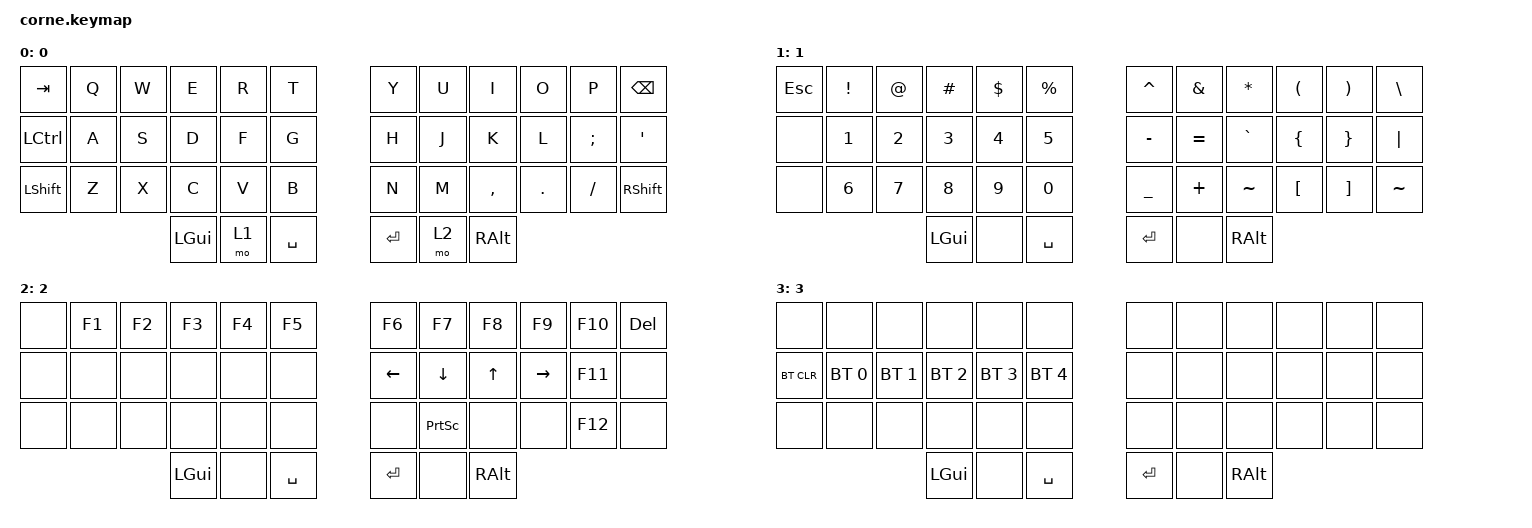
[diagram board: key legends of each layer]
/*
 * Copyright (c) 2020 The ZMK Contributors
 *
 * SPDX-License-Identifier: MIT
 */

#include <behaviors.dtsi>
#include <dt-bindings/zmk/bt.h>
#include <dt-bindings/zmk/keys.h>

/ {
    combos {
        compatible = "zmk,combos";

        caplock {
            bindings = <&kp CAPS>;
            key-positions = <38 39>;
        };

        control_layer {
            bindings = <&mo 3>;
            key-positions = <37 40>;
        };
    };

    keymap {
        compatible = "zmk,keymap";

        default {
            display-name = "0";

            // -----------------------------------------------------------------------------------------
            // |  TAB |  Q  |  W  |  E  |  R  |  T  |   |  Y  |  U   |  I  |  O  |  P  | BSPC |
            // | CTRL |  A  |  S  |  D  |  F  |  G  |   |  H  |  J   |  K  |  L  |  ;  |  '   |
            // | SHFT |  Z  |  X  |  C  |  V  |  B  |   |  N  |  M   |  ,  |  .  |  /  | ESC  |
            //                    | GUI | LWR | SPC |   | ENT | RSE  | ALT |

            bindings = <
&kp TAB     &kp Q  &kp W  &kp E     &kp R  &kp T        &kp Y    &kp U  &kp I      &kp O    &kp P     &kp BSPC
&kp LCTRL   &kp A  &kp S  &kp D     &kp F  &kp G        &kp H    &kp J  &kp K      &kp L    &kp SEMI  &kp SQT
&kp LSHIFT  &kp Z  &kp X  &kp C     &kp V  &kp B        &kp N    &kp M  &kp COMMA  &kp DOT  &kp FSLH  &kp RSHIFT
                          &kp LGUI  &mo 1  &kp SPACE    &kp RET  &mo 2  &kp RALT
            >;
        };

        lower {
            display-name = "1";

            // -----------------------------------------------------------------------------------------
            // |  TAB |  !  |  @  |  #  |  $  |  %  |   |  ^  |  &  |  *  |  (  |  )  | BSPC |
            // | CTRL |     |     |     |     |     |   |  -  |  =  |  [  |  ]  |  \  |  `   |
            // | SHFT |     |     |     |     |     |   |  _  |  +  |  {  |  }  | "|" |  ~   |
            //                    | GUI |     | SPC |   | ENT |     | ALT |

            bindings = <
&kp ESC  &kp EXCL  &kp AT  &kp HASH  &kp DLLR  &kp PRCNT    &kp CARET  &kp AMPS   &kp ASTRK  &kp LPAR          &kp RPAR           &kp BSLH
&none    &kp N1    &kp N2  &kp N3    &kp N4    &kp N5       &kp MINUS  &kp EQUAL  &kp GRAVE  &kp LEFT_BRACE    &kp RIGHT_BRACE    &kp PIPE
&none    &kp N6    &kp N7  &kp N8    &kp N9    &kp N0       &kp UNDER  &kp PLUS   &kp TILDE  &kp LEFT_BRACKET  &kp RIGHT_BRACKET  &kp TILDE
                           &kp LGUI  &none     &kp SPACE    &kp RET    &none      &kp RALT
            >;
        };

        raise {
            display-name = "2";

            // -----------------------------------------------------------------------------------------
            // |  TAB |  1  |  2  |  3  |  4  |  5  |   |  6  |  7  |  8  |  9  |  0  | BSPC |
            // | BTCLR| BT1 | BT2 | BT3 | BT4 | BT5 |   | LFT | DWN |  UP | RGT |     |      |
            // | SHFT |     |     |     |     |     |   |     |     |     |     |     |      |
            //                    | GUI |     | SPC |   | ENT |     | ALT |

            bindings = <
&none  &kp F1  &kp F2  &kp F3    &kp F4  &kp F5       &kp F6    &kp F7           &kp F8    &kp F9     &kp F10  &kp DEL
&none  &none   &none   &none     &none   &none        &kp LEFT  &kp DOWN         &kp UP    &kp RIGHT  &kp F11  &none
&none  &none   &none   &none     &none   &none        &none     &kp PRINTSCREEN  &none     &none      &kp F12  &none
                       &kp LGUI  &none   &kp SPACE    &kp RET   &none            &kp RALT
            >;
        };

        control {
            display-name = "3";
            bindings = <
&none       &none         &none         &none         &none         &none           &none    &none  &none     &none  &none  &none
&bt BT_CLR  &bt BT_SEL 0  &bt BT_SEL 1  &bt BT_SEL 2  &bt BT_SEL 3  &bt BT_SEL 4    &none    &none  &none     &none  &none  &none
&none       &none         &none         &none         &none         &none           &none    &none  &none     &none  &none  &none
                                        &kp LGUI      &none         &kp SPACE       &kp RET  &none  &kp RALT
            >;
        };
    };
};
